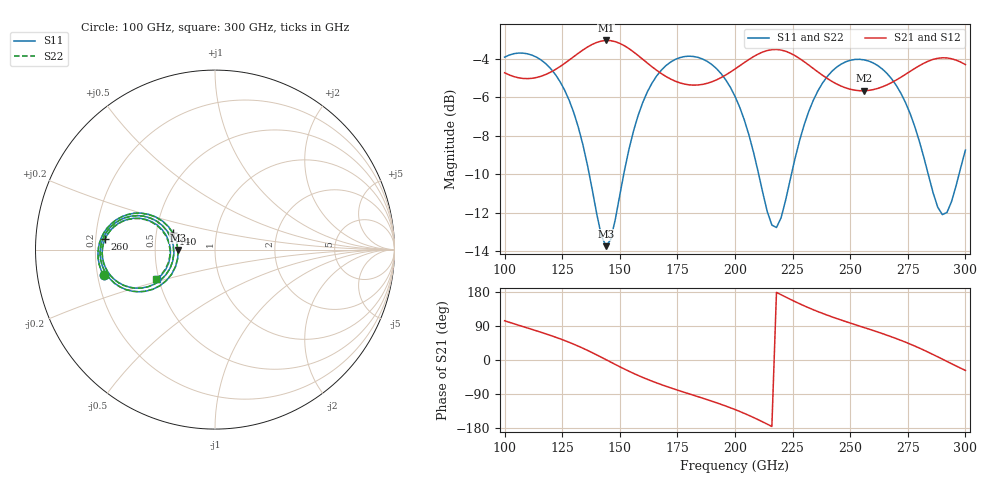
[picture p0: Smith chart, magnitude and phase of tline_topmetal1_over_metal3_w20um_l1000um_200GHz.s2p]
#  GHZ S DB R 50
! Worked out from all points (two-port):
!   101 points, 100 GHz to 300 GHz, reference 50 ohm
!   highest |S21| = -3.05 dB at 144 GHz (marker M1); lowest = -5.7 dB at 256 GHz (marker M2)
!   |S21| within 3 dB of the highest: start of sweep to end of sweep
!   lowest |S11| = -13.7 dB at 144 GHz (marker M3), VSWR 1.52, Z = 32.9 - j0.118 ohm
!   |S11| at or under -10 dB: 136.7 GHz to 151.7 GHz (14.99 GHz wide, 10.4 % of centre); 210.3 GHz to 224.5 GHz (14.23 GHz wide, 6.55 % of centre); 283.9 GHz to 297.2 GHz (13.39 GHz wide, 4.61 % of centre)
!   |S22| runs from -13.7 to -3.7 dB; largest |S21 - S12| = 7.7e-14
!   S11 on the Smith chart (normalised r, x): 100 GHz: 0.22, -0.11; 140 GHz: 0.61, +0.12; 260 GHz: 0.24, +0.05; 300 GHz: 0.49, -0.19
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100  -3.92 -167.0  -4.73 103.6  -4.73 103.6  -3.92 -167.0
116  -4.08 171.2  -4.90 72.8  -4.90 72.8  -4.08 171.2
126  -5.62 158.0  -4.25 51.5  -4.25 51.5  -5.62 158.1
134  -8.48 151.1  -3.55 31.0  -3.55 31.0  -8.47 151.2
140  -12.07 158.9  -3.15 13.4  -3.15 13.4  -12.05 159.0
144  -13.74 -179.5  -3.05 1.0  -3.05 1.0  -13.71 -179.5
150  -11.09 -150.3  -3.20 -17.8  -3.20 -17.8  -11.07 -150.3
156  -7.73 -147.5  -3.65 -35.4  -3.65 -35.4  -7.73 -147.5
168  -4.60 -161.3  -4.77 -64.9  -4.77 -64.9  -4.60 -161.3
184  -3.93 177.8  -5.37 -96.9  -5.37 -96.9  -3.93 177.8
200  -5.95 158.3  -4.54 -130.8  -4.54 -130.8  -5.95 158.4
208  -8.84 153.9  -3.89 -151.6  -3.89 -151.6  -8.84 154.1
218  -12.77 -174.9  -3.52 178.4  -3.52 178.4  -12.75 -174.8
226  -9.21 -150.8  -3.84 154.2  -3.84 154.2  -9.20 -150.7
234  -6.16 -154.1  -4.51 132.6  -4.51 132.6  -6.15 -154.1
246  -4.29 -168.5  -5.42 105.6  -5.42 105.6  -4.28 -168.3
256  -4.06 179.2  -5.67 85.7  -5.67 85.7  -4.05 179.4
260  -4.22 174.4  -5.61 77.8  -5.61 77.8  -4.21 174.6
268  -5.05 165.0  -5.24 61.0  -5.24 61.0  -5.04 165.2
280  -8.28 156.2  -4.36 31.5  -4.36 31.5  -8.25 156.5
290  -12.10 179.2  -3.95 2.3  -3.95 2.3  -12.00 179.3
300  -8.75 -153.0  -4.31 -27.5  -4.31 -27.5  -8.71 -153.3
